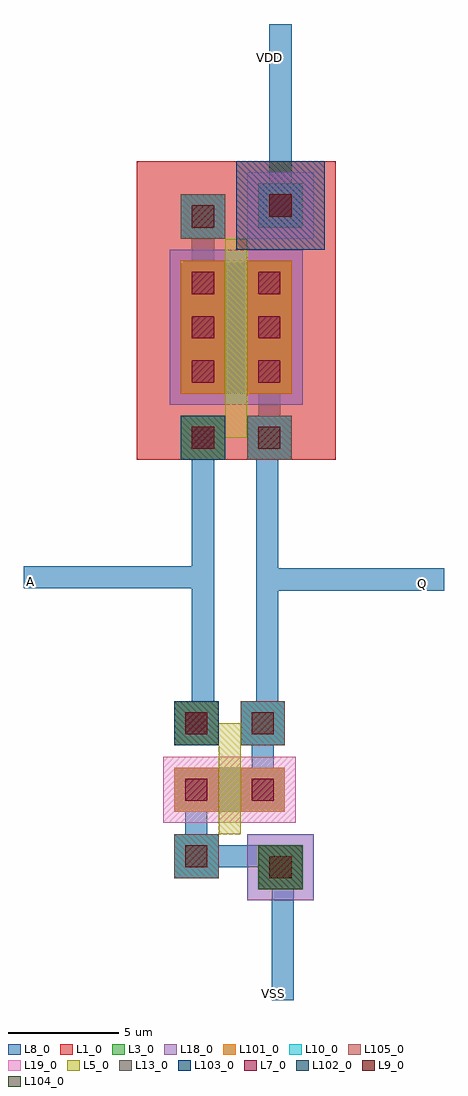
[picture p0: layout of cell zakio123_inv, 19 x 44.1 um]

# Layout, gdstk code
import gdstk
lib = gdstk.Library(unit=1e-6, precision=1e-07)
def R(c, l, rs):  # rectangles x0, y0, x1, y1
    for r in rs: c.add(gdstk.rectangle(r[:2], r[2:], *l))
L1_0 = (1, 0)
L3_0 = (3, 0)
L5_0 = (5, 0)
L7_0 = (7, 0)
L8_0 = (8, 0)
L9_0 = (9, 0)
L10_0 = (10, 0)
L13_0 = (13, 0)
L18_0 = (18, 0)
L19_0 = (19, 0)
L101_0 = (101, 0)
L102_0 = (102, 0)
L103_0 = (103, 0)
L104_0 = (104, 0)
L105_0 = (105, 0)

dcont = lib.new_cell('dcont')
R(dcont, L3_0, [(-1,-1,1,1)])
R(dcont, L7_0, [(-0.5,-0.5,0.5,0.5)])
R(dcont, L8_0, [(-1,-1,1,1)])
R(dcont, L13_0, [(-0.5,-0.5,0.5,0.5)])
R(dcont, L101_0, [(-1,-1,1,1)])

pcont = lib.new_cell('pcont')
R(pcont, L5_0, [(-1,-1,1,1)])
R(pcont, L7_0, [(-0.5,-0.5,0.5,0.5)])
R(pcont, L8_0, [(-1,-1,1,1)])
R(pcont, L13_0, [(-0.5,-0.5,0.5,0.5)])
R(pcont, L102_0, [(-1,-1,1,1)])

via = lib.new_cell('Via')
R(via, L8_0, [(-1,-1,1,1)])
R(via, L9_0, [(-0.5,-0.5,0.5,0.5)])
R(via, L10_0, [(-1,-1,1,1)])
R(via, L13_0, [(-0.5,-0.5,0.5,0.5)])
R(via, L105_0, [(-1,-1,1,1)])

dcont1 = lib.new_cell('dcont1')
R(dcont1, L3_0, [(-1,-1,1,1)])
R(dcont1, L7_0, [(-0.5,-0.5,0.5,0.5)])
R(dcont1, L8_0, [(-1,-1,1,1)])
R(dcont1, L13_0, [(-0.5,-0.5,0.5,0.5)])
R(dcont1, L101_0, [(-1,-1,1,1)])

nsubcont = lib.new_cell('nsubcont')
R(nsubcont, L1_0, [(-2,-2,2,2)])
R(nsubcont, L19_0, [(-1.5,-1.5,1.5,1.5)])
R(nsubcont, L103_0, [(-2,-2,2,2)])
nsubcont.add(gdstk.Reference(dcont1, (0,0)))

pch = lib.new_cell('Pch')
R(pch, L1_0, [(-2,0,7,13.5)])
R(pch, L3_0, [(0,3,5,9)])
R(pch, L18_0, [(-0.5,2.5,5.5,9.5)])
pch.add(gdstk.FlexPath([(1,3),(1,9)], 2, ends="flush", simple_path=True, layer=8, datatype=0))  # L8_0
pch.add(gdstk.FlexPath([(4,3),(4,9)], 2, ends="flush", simple_path=True, layer=8, datatype=0))  # L8_0
pch.add(gdstk.FlexPath([(1,8),(1,11)], 1, ends="flush", simple_path=True, layer=8, datatype=0))  # L8_0
pch.add(gdstk.FlexPath([(4,1),(4,4)], 1, ends="flush", simple_path=True, layer=8, datatype=0))  # L8_0
pch.add(gdstk.FlexPath([(2.5,3),(2.5,9)], 1, ends=(1, 1), simple_path=True, layer=5, datatype=0))  # L5_0
pch.add(gdstk.FlexPath([(1,1.5),(2.5,1.5),(2.5,2)], 1, ends="flush", simple_path=True, layer=5, datatype=0))  # L5_0
pch.add(gdstk.Reference(dcont, (1,4)))
pch.add(gdstk.Reference(dcont, (1,6)))
pch.add(gdstk.Reference(dcont, (1,8)))
pch.add(gdstk.Reference(dcont, (4,4)))
pch.add(gdstk.Reference(dcont, (4,6)))
pch.add(gdstk.Reference(dcont, (4,8)))
pch.add(gdstk.Reference(pcont, (1,1)))
pch.add(gdstk.Reference(via, (1,1)))
pch.add(gdstk.Reference(via, (1,11)))
pch.add(gdstk.Reference(via, (4,1)))
pch.add(gdstk.Reference(nsubcont, (4.5,11.5)))
pch.add(gdstk.Reference(via, (4.5,11.5)))

psubcont = lib.new_cell('psubcont')
R(psubcont, L18_0, [(-1.5,-1.5,1.5,1.5)])
R(psubcont, L104_0, [(-1,-1,1,1)])
psubcont.add(gdstk.Reference(dcont1, (0,0)))

nch = lib.new_cell('Nch')
R(nch, L3_0, [(0,3,5,5)])
R(nch, L19_0, [(-0.5,2.5,5.5,5.5)])
nch.add(gdstk.FlexPath([(1,3),(1,5)], 2, ends="flush", simple_path=True, layer=8, datatype=0))  # L8_0
nch.add(gdstk.FlexPath([(4,3),(4,5)], 2, ends="flush", simple_path=True, layer=8, datatype=0))  # L8_0
nch.add(gdstk.FlexPath([(1,1),(1,4)], 1, ends="flush", simple_path=True, layer=8, datatype=0))  # L8_0
nch.add(gdstk.FlexPath([(4,4),(4,7)], 1, ends="flush", simple_path=True, layer=8, datatype=0))  # L8_0
nch.add(gdstk.FlexPath([(2.5,3),(2.5,5)], 1, ends=(1, 1), simple_path=True, layer=5, datatype=0))  # L5_0
nch.add(gdstk.FlexPath([(1,6.5),(2.5,6.5),(2.5,6)], 1, ends="flush", simple_path=True, layer=5, datatype=0))  # L5_0
nch.add(gdstk.Reference(dcont, (1,4)))
nch.add(gdstk.Reference(dcont, (4,4)))
nch.add(gdstk.Reference(pcont, (1,7)))
nch.add(gdstk.Reference(via, (1,7)))
nch.add(gdstk.Reference(via, (1,1)))
nch.add(gdstk.Reference(via, (4,7)))
nch.add(gdstk.Reference(psubcont, (4.8,0.5)))
nch.add(gdstk.Reference(via, (4.8,0.5)))

zakio123_inv = lib.new_cell('zakio123_inv')
zakio123_inv.add(gdstk.FlexPath([(3,-1.1),(3,-13)], 1, ends="flush", simple_path=True, layer=8, datatype=0))  # L8_0
zakio123_inv.add(gdstk.FlexPath([(3.1,-7),(11,-7)], 1, ends="flush", simple_path=True, layer=8, datatype=0))  # L8_0
zakio123_inv.add(gdstk.FlexPath([(0.1,-1.2),(0.1,-13)], 1, ends="flush", simple_path=True, layer=8, datatype=0))  # L8_0
zakio123_inv.add(gdstk.FlexPath([(-0.4,-6.9),(-8,-6.9)], 1, ends="flush", simple_path=True, layer=8, datatype=0))  # L8_0
zakio123_inv.add(gdstk.FlexPath([(3.6,10.9),(3.6,18.1)], 1, ends="flush", simple_path=True, layer=8, datatype=0))  # L8_0
zakio123_inv.add(gdstk.FlexPath([(-0.1,-19.5),(3,-19.5)], 1, ends="flush", simple_path=True, layer=8, datatype=0))  # L8_0
zakio123_inv.add(gdstk.FlexPath([(3.7,-20.6),(3.7,-26)], 1, ends="flush", simple_path=True, layer=8, datatype=0))  # L8_0
zakio123_inv.add(gdstk.Reference(pch, (-0.9,-1.6)))
zakio123_inv.add(gdstk.Reference(nch, (-1.2,-20.5)))
zakio123_inv.add(gdstk.Label('Q', (10,-7.2), layer=8, texttype=0))
zakio123_inv.add(gdstk.Label('VDD', (3.1,16.6), layer=8, texttype=0))
zakio123_inv.add(gdstk.Label('A', (-7.7,-7.1), layer=8, texttype=0))
zakio123_inv.add(gdstk.Label('VSS', (3.3,-25.7), layer=8, texttype=0))

lib.write_gds('zakio123_inv.gds')
